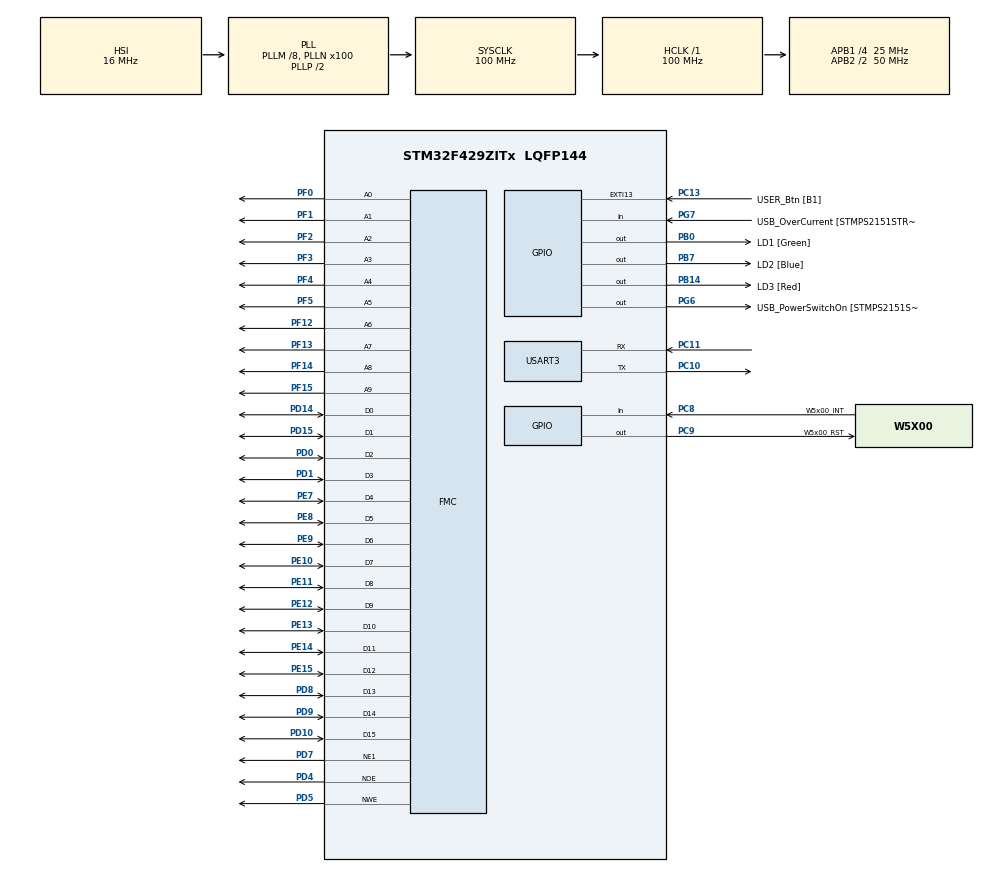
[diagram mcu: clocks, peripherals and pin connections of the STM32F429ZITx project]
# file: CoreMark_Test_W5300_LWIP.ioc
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3rdParty.I-CUBE-CoreMark.0.1.0.ApplicationCcDeviceJjApplication=CoreMarkApp
3rdParty.I-CUBE-CoreMark.0.1.0.ITERATIONS=5000
3rdParty.I-CUBE-CoreMark.0.1.0.PRINTF_UART_PORT=huart3
3rdParty.I-CUBE-CoreMark.0.1.0.UtilityJjMISC=true
FMC.AddressSetupTime1=1
FMC.BusTurnAroundDuration1=0
FMC.DataSetupTime1=6
FMC.WriteOperation1=FMC_WRITE_OPERATION_ENABLE
FREERTOS.BinarySemaphores01=coremark_start_sem,Dynamic,NULL;send_sem,Dynamic,NULL
FREERTOS.INCLUDE_xSemaphoreGetMutexHolder=1
FREERTOS.Tasks01=defaultTask,24,128,StartDefaultTask,Default,NULL,Dynamic,NULL,NULL;CoreMark_Task,25,4096,StartCorMark_Task,Default,NULL,Dynamic,NULL,NULL;TCP_Task,27,2048,StartTCP_Task,Default,NULL,Dynamic,NULL,NULL;Send_Task,28,512,StartSend_Task,Default,NULL,Dynamic,NULL,NULL
FREERTOS.configTOTAL_HEAP_SIZE=131072
Mcu.Family=STM32F4
Mcu.Name=STM32F429ZITx
Mcu.Package=LQFP144
NVIC.PriorityGroup=NVIC_PRIORITYGROUP_4
PA13.Mode=Serial_Wire
PA13.Signal=SYS_JTMS-SWDIO
PA14.GPIO_Label=TCK
PA14.Mode=Serial_Wire
PA14.Signal=SYS_JTCK-SWCLK
PB0.GPIO_Label=LD1 [Green]
PB0.Signal=GPIO_Output
PB14.GPIO_Label=LD3 [Red]
PB14.Signal=GPIO_Output
PB7.GPIO_Label=LD2 [Blue]
PB7.Signal=GPIO_Output
PC10.Mode=Asynchronous
PC10.Signal=USART3_TX
PC11.Mode=Asynchronous
PC11.Signal=USART3_RX
PC13.GPIO_Label=USER_Btn [B1]
PC13.Signal=GPXTI13
PC14/OSC32_IN.Mode=LSE-External-Oscillator
PC14/OSC32_IN.Signal=RCC_OSC32_IN
PC15/OSC32_OUT.Mode=LSE-External-Oscillator
PC15/OSC32_OUT.Signal=RCC_OSC32_OUT
PC8.GPIO_Label=W5x00_INT
PC8.Signal=GPIO_Input
PC9.GPIO_Label=W5x00_RST
PC9.Signal=GPIO_Output
PD0.Signal=FMC_D2_DA2
PD1.Signal=FMC_D3_DA3
PD10.Signal=FMC_D15_DA15
PD14.Signal=FMC_D0_DA0
PD15.Signal=FMC_D1_DA1
PD4.Signal=FMC_NOE
PD5.Signal=FMC_NWE
PD7.Mode=NorPsramChipSelect1_1
PD7.Signal=FMC_NE1
PD8.Signal=FMC_D13_DA13
PD9.Signal=FMC_D14_DA14
PE10.Signal=FMC_D7_DA7
PE11.Signal=FMC_D8_DA8
PE12.Signal=FMC_D9_DA9
PE13.Signal=FMC_D10_DA10
PE14.Signal=FMC_D11_DA11
PE15.Signal=FMC_D12_DA12
PE7.Signal=FMC_D4_DA4
PE8.Signal=FMC_D5_DA5
PE9.Signal=FMC_D6_DA6
PF0.Signal=FMC_A0
PF1.Signal=FMC_A1
PF12.Signal=FMC_A6
PF13.Signal=FMC_A7
PF14.Signal=FMC_A8
PF15.Signal=FMC_A9
PF2.Signal=FMC_A2
PF3.Signal=FMC_A3
PF4.Signal=FMC_A4
PF5.Signal=FMC_A5
PG6.GPIO_Label=USB_PowerSwitchOn [STMPS2151STR_EN]
PG6.Signal=GPIO_Output
PG7.GPIO_Label=USB_OverCurrent [STMPS2151STR_FAULT]
PG7.Signal=GPIO_Input
PH0/OSC_IN.Mode=HSE-External-Clock-Source
PH0/OSC_IN.Signal=RCC_OSC_IN
PH1/OSC_OUT.Mode=HSE-External-Clock-Source
PH1/OSC_OUT.Signal=RCC_OSC_OUT
ProjectManager.HeapSize=0x2000
ProjectManager.StackSize=0x2000
ProjectManager.TargetToolchain=MDK-ARM V5.32
RCC.48MHZClocksFreq_Value=50000000
RCC.AHBFreq_Value=100000000
RCC.APB1CLKDivider=RCC_HCLK_DIV4
RCC.APB1Freq_Value=25000000
RCC.APB1TimFreq_Value=50000000
RCC.APB2CLKDivider=RCC_HCLK_DIV2
RCC.APB2Freq_Value=50000000
RCC.APB2TimFreq_Value=100000000
RCC.CortexFreq_Value=100000000
RCC.HCLKFreq_Value=100000000
RCC.HSE_VALUE=8000000
RCC.HSI_VALUE=16000000
RCC.PLLM=8
RCC.PLLMUL=RCC_PLL_MUL9
RCC.PLLN=100
RCC.PRESCALERUSB=RCC_USBCLKSOURCE_PLL_DIV1_5
RCC.SYSCLKFreq_VALUE=100000000
RCC.SYSCLKSource=RCC_SYSCLKSOURCE_PLLCLK
RCC.SYSCLKSourceVirtual=RCC_SYSCLKSOURCE_PLLCLK
RCC.USBFreq_Value=48000000
RCC.VCOOutputFreq_Value=200000000
SH.FMC_A0.0=FMC_A0,10b-a1
SH.FMC_A1.0=FMC_A1,10b-a1
SH.FMC_A2.0=FMC_A2,10b-a1
SH.FMC_A3.0=FMC_A3,10b-a1
SH.FMC_A4.0=FMC_A4,10b-a1
SH.FMC_A5.0=FMC_A5,10b-a1
SH.FMC_A6.0=FMC_A6,10b-a1
SH.FMC_A7.0=FMC_A7,10b-a1
SH.FMC_A8.0=FMC_A8,10b-a1
SH.FMC_A9.0=FMC_A9,10b-a1
SH.FMC_D0_DA0.0=FMC_D0,16b-d1
SH.FMC_D10_DA10.0=FMC_D10,16b-d1
SH.FMC_D11_DA11.0=FMC_D11,16b-d1
SH.FMC_D12_DA12.0=FMC_D12,16b-d1
SH.FMC_D13_DA13.0=FMC_D13,16b-d1
SH.FMC_D14_DA14.0=FMC_D14,16b-d1
SH.FMC_D15_DA15.0=FMC_D15,16b-d1
SH.FMC_D1_DA1.0=FMC_D1,16b-d1
SH.FMC_D2_DA2.0=FMC_D2,16b-d1
SH.FMC_D3_DA3.0=FMC_D3,16b-d1
SH.FMC_D4_DA4.0=FMC_D4,16b-d1
SH.FMC_D5_DA5.0=FMC_D5,16b-d1
SH.FMC_D6_DA6.0=FMC_D6,16b-d1
SH.FMC_D7_DA7.0=FMC_D7,16b-d1
SH.FMC_D8_DA8.0=FMC_D8,16b-d1
SH.FMC_D9_DA9.0=FMC_D9,16b-d1
SH.FMC_NOE.0=FMC_NOE,Sram1
SH.FMC_NWE.0=FMC_NWE,Sram1
USART3.VirtualMode=VM_ASYNC
VP_3rdParty.I-CUBE-CoreMark_VS_DeviceJjApplication_0.1.0_0.1.0.Mode=DeviceJjApplication
VP_3rdParty.I-CUBE-CoreMark_VS_UtilityJjMISC_0.1.0_0.1.0.Mode=UtilityJjMISC
VP_FREERTOS_VS_CMSIS_V2.Mode=CMSIS_V2
board=NUCLEO-F429ZI

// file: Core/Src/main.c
/* USER CODE BEGIN Header */
/**
  ******************************************************************************
  * @file           : main.c
  * @brief          : Main program body
  ******************************************************************************
  * @attention
  *
  * Copyright (c) 2023 STMicroelectronics.
  * All rights reserved.
  *
  * This software is licensed under terms that can be found in the LICENSE file
  * in the root directory of this software component.
  * If no LICENSE file comes with this software, it is provided AS-IS.
  *
  ******************************************************************************
  */
/* USER CODE END Header */
#include "main.h"
#include "cmsis_os.h"
//#include "app_coremarkapp.h"

/* USER CODE BEGIN Includes */
#include "CoreMark_Task.h"
#include "TCP_Task.h"
#include "w5x00_network.h"
#include "wizchip_conf.h"
#include "socket.h"

#include "w5x00_lwip.h"

#include "lwip/init.h"
#include "lwip/netif.h"
#include "lwip/timeouts.h"

#include "lwip/etharp.h"

/* USER CODE END Includes */

UART_HandleTypeDef huart3;

SRAM_HandleTypeDef hsram1;

/* Definitions for defaultTask */
osThreadId_t defaultTaskHandle;
const osThreadAttr_t defaultTask_attributes = {
  .name = "defaultTask",
  .stack_size = 128 * 4,
  .priority = (osPriority_t) osPriorityNormal,
};
/* Definitions for CoreMark_Task */
osThreadId_t CoreMark_TaskHandle;
const osThreadAttr_t CoreMark_Task_attributes = {
  .name = "CoreMark_Task",
  .stack_size = 4096 * 4,
  .priority = (osPriority_t) osPriorityNormal1,
};
/* Definitions for TCP_Task */
osThreadId_t TCP_TaskHandle;
const osThreadAttr_t TCP_Task_attributes = {
  .name = "TCP_Task",
  .stack_size = 2048 * 4,
  .priority = (osPriority_t) osPriorityNormal3,
};
/* Definitions for Send_Task */
osThreadId_t Send_TaskHandle;
const osThreadAttr_t Send_Task_attributes = {
  .name = "Send_Task",
  .stack_size = 512 * 4,
  .priority = (osPriority_t) osPriorityNormal4,
};
/* Definitions for coremark_start_sem */
osSemaphoreId_t coremark_start_semHandle;
const osSemaphoreAttr_t coremark_start_sem_attributes = {
  .name = "coremark_start_sem"
};
/* Definitions for send_sem */
osSemaphoreId_t send_semHandle;
const osSemaphoreAttr_t send_sem_attributes = {
  .name = "send_sem"
};
/* USER CODE BEGIN PV */
uint8_t mac_addr[6] = {0x00, 0x08, 0xDC, 0x12, 0x34, 0x56};

/* USER CODE END PV */

void SystemClock_Config(void);
static void MX_GPIO_Init(void);
static void MX_FMC_Init(void);
static void MX_USART3_UART_Init(void);
void StartDefaultTask(void *argument);
void StartCorMark_Task(void *argument);
void StartTCP_Task(void *argument);
void StartSend_Task(void *argument);

int main(void)
{

  /* MCU Configuration--------------------------------------------------------*/

  /* Reset of all peripherals, Initializes the Flash interface and the Systick. */
  HAL_Init();

  /* Configure the system clock */
  SystemClock_Config();

  /* Initialize all configured peripherals */
  MX_GPIO_Init();
  MX_FMC_Init();
  MX_USART3_UART_Init();
 // MX_CoreMarkApp_Init();
  /* USER CODE BEGIN 2 */
  printf("HAL_RCC_GetSysClockFreq = %d\r\n", HAL_RCC_GetSysClockFreq());

  wizchip_reset();
  wizchip_initialize();
  wizchip_check();
  // Set ethernet chip MAC address
  setSHAR(mac_addr);
  ctlwizchip(CW_RESET_PHY, 0);

  // Initialize LWIP in NO_SYS mode
  lwip_init();
  CoreMark_TaskHandle = osThreadNew(coremark_task_main, NULL, &CoreMark_Task_attributes);
  TCP_TaskHandle = osThreadNew(tcp_task_main, NULL, &TCP_Task_attributes);
  Send_TaskHandle = osThreadNew(send_task_main, NULL, &Send_Task_attributes);

  coremark_start_semHandle = osSemaphoreNew(1, 0, &coremark_start_sem_attributes);
  send_semHandle = osSemaphoreNew(1, 0, &send_sem_attributes);
  /* USER CODE END 2 */

  /* Init scheduler */
  osKernelInitialize();
/* USER CODE BEGIN Header */
/**
  ******************************************************************************
  * @file           : main.c
  * @brief          : Main program body
  ******************************************************************************
  * @attention
  *
  * Copyright (c) 2023 STMicroelectronics.
  * All rights reserved.
  *
  * This software is licensed under terms that can be found in the LICENSE file
  * in the root directory of this software component.
  * If no LICENSE file comes with this software, it is provided AS-IS.
  *
  ******************************************************************************
  */
/* USER CODE END Header */

  /* Start scheduler */
  osKernelStart();

  /* We should never get here as control is now taken by the scheduler */
  /* Infinite loop */
  while (1)
  {

  }
}

void SystemClock_Config(void)
{
  RCC_OscInitTypeDef RCC_OscInitStruct = {0};
  RCC_ClkInitTypeDef RCC_ClkInitStruct = {0};

  /** Configure the main internal regulator output voltage
  */
  __HAL_RCC_PWR_CLK_ENABLE();
  __HAL_PWR_VOLTAGESCALING_CONFIG(PWR_REGULATOR_VOLTAGE_SCALE3);

  /** Initializes the RCC Oscillators according to the specified parameters
  * in the RCC_OscInitTypeDef structure.
  */
  RCC_OscInitStruct.OscillatorType = RCC_OSCILLATORTYPE_HSI;
  RCC_OscInitStruct.HSIState = RCC_HSI_ON;
  RCC_OscInitStruct.HSICalibrationValue = RCC_HSICALIBRATION_DEFAULT;
  RCC_OscInitStruct.PLL.PLLState = RCC_PLL_ON;
  RCC_OscInitStruct.PLL.PLLSource = RCC_PLLSOURCE_HSI;
  RCC_OscInitStruct.PLL.PLLM = 8;
  RCC_OscInitStruct.PLL.PLLN = 100;
  RCC_OscInitStruct.PLL.PLLP = RCC_PLLP_DIV2;
  RCC_OscInitStruct.PLL.PLLQ = 4;
  if (HAL_RCC_OscConfig(&RCC_OscInitStruct) != HAL_OK)
  {
    Error_Handler();
  }

  /** Initializes the CPU, AHB and APB buses clocks
  */
  RCC_ClkInitStruct.ClockType = RCC_CLOCKTYPE_HCLK|RCC_CLOCKTYPE_SYSCLK
                              |RCC_CLOCKTYPE_PCLK1|RCC_CLOCKTYPE_PCLK2;
  RCC_ClkInitStruct.SYSCLKSource = RCC_SYSCLKSOURCE_PLLCLK;
  RCC_ClkInitStruct.AHBCLKDivider = RCC_SYSCLK_DIV1;
  RCC_ClkInitStruct.APB1CLKDivider = RCC_HCLK_DIV4;
  RCC_ClkInitStruct.APB2CLKDivider = RCC_HCLK_DIV2;

  if (HAL_RCC_ClockConfig(&RCC_ClkInitStruct, FLASH_LATENCY_3) != HAL_OK)
  {
    Error_Handler();
  }
}

static void MX_USART3_UART_Init(void)
{

  huart3.Instance = USART3;
  huart3.Init.BaudRate = 115200;
  huart3.Init.WordLength = UART_WORDLENGTH_8B;
  huart3.Init.StopBits = UART_STOPBITS_1;
  huart3.Init.Parity = UART_PARITY_NONE;
  huart3.Init.Mode = UART_MODE_TX_RX;
  huart3.Init.HwFlowCtl = UART_HWCONTROL_NONE;
  huart3.Init.OverSampling = UART_OVERSAMPLING_16;
  if (HAL_UART_Init(&huart3) != HAL_OK)
  {
    Error_Handler();
  }

}

/* FMC initialization function */
static void MX_FMC_Init(void)
{

  FMC_NORSRAM_TimingTypeDef Timing = {0};

  /** Perform the SRAM1 memory initialization sequence
  */
  hsram1.Instance = FMC_NORSRAM_DEVICE;
  hsram1.Extended = FMC_NORSRAM_EXTENDED_DEVICE;
  /* hsram1.Init */
  hsram1.Init.NSBank = FMC_NORSRAM_BANK1;
  hsram1.Init.DataAddressMux = FMC_DATA_ADDRESS_MUX_DISABLE;
  hsram1.Init.MemoryType = FMC_MEMORY_TYPE_SRAM;
  hsram1.Init.MemoryDataWidth = FMC_NORSRAM_MEM_BUS_WIDTH_16;
  hsram1.Init.BurstAccessMode = FMC_BURST_ACCESS_MODE_DISABLE;
  hsram1.Init.WaitSignalPolarity = FMC_WAIT_SIGNAL_POLARITY_LOW;
  hsram1.Init.WrapMode = FMC_WRAP_MODE_DISABLE;
  hsram1.Init.WaitSignalActive = FMC_WAIT_TIMING_BEFORE_WS;
  hsram1.Init.WriteOperation = FMC_WRITE_OPERATION_ENABLE;
  hsram1.Init.WaitSignal = FMC_WAIT_SIGNAL_DISABLE;
  hsram1.Init.ExtendedMode = FMC_EXTENDED_MODE_DISABLE;
  hsram1.Init.AsynchronousWait = FMC_ASYNCHRONOUS_WAIT_DISABLE;
  hsram1.Init.WriteBurst = FMC_WRITE_BURST_DISABLE;
  hsram1.Init.ContinuousClock = FMC_CONTINUOUS_CLOCK_SYNC_ONLY;
  hsram1.Init.PageSize = FMC_PAGE_SIZE_NONE;
  /* Timing */
  Timing.AddressSetupTime = 1;
  Timing.AddressHoldTime = 15;
  Timing.DataSetupTime = 6;
  Timing.BusTurnAroundDuration = 0;
  Timing.CLKDivision = 16;
  Timing.DataLatency = 17;
  Timing.AccessMode = FMC_ACCESS_MODE_A;
  /* ExtTiming */

  if (HAL_SRAM_Init(&hsram1, &Timing, NULL) != HAL_OK)
  {
    Error_Handler( );
  }

  /* USER CODE BEGIN FMC_Init 2 */

#if 1 //elabsystem github
    Timing.AddressSetupTime = 3;
    Timing.AddressHoldTime = 3;
    Timing.DataSetupTime = 4;
    Timing.BusTurnAroundDuration = 4;
    Timing.CLKDivision = 10;
    Timing.DataLatency = 10;
    Timing.AccessMode = FMC_ACCESS_MODE_A;
#endif

#if 1
    if (HAL_SRAM_Init(&hsram1, &Timing, NULL) != HAL_OK)
    {
      Error_Handler( );
    }
#endif

  /* USER CODE END FMC_Init 2 */
}

static void MX_GPIO_Init(void)
{
  GPIO_InitTypeDef GPIO_InitStruct = {0};

  /* GPIO Ports Clock Enable */
  __HAL_RCC_GPIOC_CLK_ENABLE();
  __HAL_RCC_GPIOF_CLK_ENABLE();
  __HAL_RCC_GPIOH_CLK_ENABLE();
  __HAL_RCC_GPIOB_CLK_ENABLE();
  __HAL_RCC_GPIOE_CLK_ENABLE();
  __HAL_RCC_GPIOD_CLK_ENABLE();
  __HAL_RCC_GPIOG_CLK_ENABLE();
  __HAL_RCC_GPIOA_CLK_ENABLE();

  /*Configure GPIO pin Output Level */
  HAL_GPIO_WritePin(GPIOB, LD1_Pin|LD3_Pin|LD2_Pin, GPIO_PIN_RESET);

  /*Configure GPIO pin Output Level */
  HAL_GPIO_WritePin(USB_PowerSwitchOn_GPIO_Port, USB_PowerSwitchOn_Pin, GPIO_PIN_RESET);

  /*Configure GPIO pin Output Level */
  HAL_GPIO_WritePin(W5x00_RST_GPIO_Port, W5x00_RST_Pin, GPIO_PIN_RESET);

  /*Configure GPIO pin : USER_Btn_Pin */
  GPIO_InitStruct.Pin = USER_Btn_Pin;
  GPIO_InitStruct.Mode = GPIO_MODE_IT_RISING;
  GPIO_InitStruct.Pull = GPIO_NOPULL;
  HAL_GPIO_Init(USER_Btn_GPIO_Port, &GPIO_InitStruct);

  /*Configure GPIO pins : LD1_Pin LD3_Pin LD2_Pin */
  GPIO_InitStruct.Pin = LD1_Pin|LD3_Pin|LD2_Pin;
  GPIO_InitStruct.Mode = GPIO_MODE_OUTPUT_PP;
  GPIO_InitStruct.Pull = GPIO_NOPULL;
  GPIO_InitStruct.Speed = GPIO_SPEED_FREQ_LOW;
  HAL_GPIO_Init(GPIOB, &GPIO_InitStruct);

  /*Configure GPIO pin : USB_PowerSwitchOn_Pin */
  GPIO_InitStruct.Pin = USB_PowerSwitchOn_Pin;
  GPIO_InitStruct.Mode = GPIO_MODE_OUTPUT_PP;
  GPIO_InitStruct.Pull = GPIO_NOPULL;
  GPIO_InitStruct.Speed = GPIO_SPEED_FREQ_LOW;
  HAL_GPIO_Init(USB_PowerSwitchOn_GPIO_Port, &GPIO_InitStruct);

  /*Configure GPIO pin : USB_OverCurrent_Pin */
  GPIO_InitStruct.Pin = USB_OverCurrent_Pin;
  GPIO_InitStruct.Mode = GPIO_MODE_INPUT;
  GPIO_InitStruct.Pull = GPIO_NOPULL;
  HAL_GPIO_Init(USB_OverCurrent_GPIO_Port, &GPIO_InitStruct);

  /*Configure GPIO pin : W5x00_INT_Pin */
  GPIO_InitStruct.Pin = W5x00_INT_Pin;
  GPIO_InitStruct.Mode = GPIO_MODE_INPUT;
  GPIO_InitStruct.Pull = GPIO_NOPULL;
  HAL_GPIO_Init(W5x00_INT_GPIO_Port, &GPIO_InitStruct);

  /*Configure GPIO pin : W5x00_RST_Pin */
  GPIO_InitStruct.Pin = W5x00_RST_Pin;
  GPIO_InitStruct.Mode = GPIO_MODE_OUTPUT_PP;
  GPIO_InitStruct.Pull = GPIO_NOPULL;
  GPIO_InitStruct.Speed = GPIO_SPEED_FREQ_LOW;
  HAL_GPIO_Init(W5x00_RST_GPIO_Port, &GPIO_InitStruct);

}

void StartDefaultTask(void *argument)
{
  for(;;)
  {
    osDelay(1);
  }
}

void StartCorMark_Task(void *argument)
{
  for(;;)
  {
    osDelay(1);
  }
}

void StartTCP_Task(void *argument)
{
  for(;;)
  {
    osDelay(1);
  }
}

void StartSend_Task(void *argument)
{
  for(;;)
  {
    osDelay(1);
  }
}

void Error_Handler(void)
{
  __disable_irq();
  while (1)
  {
  }
}
